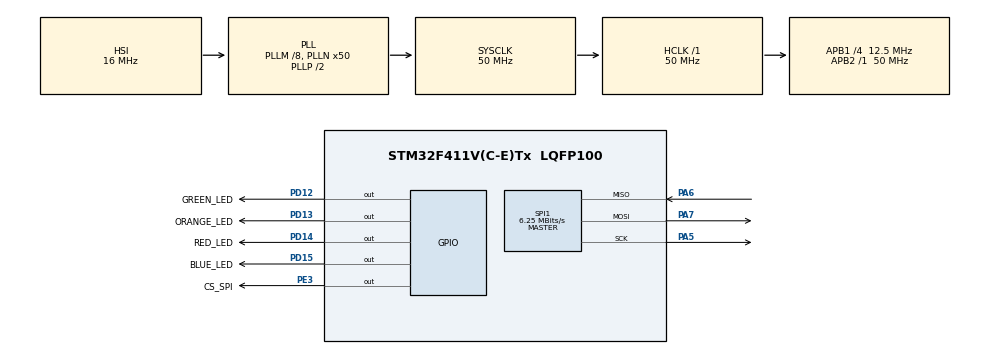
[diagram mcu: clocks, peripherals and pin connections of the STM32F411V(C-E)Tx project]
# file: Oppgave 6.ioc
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Mcu.Family=STM32F4
Mcu.Name=STM32F411V(C-E)Tx
Mcu.Package=LQFP100
NVIC.PriorityGroup=NVIC_PRIORITYGROUP_0
PA5.Mode=Full_Duplex_Master
PA5.Signal=SPI1_SCK
PA6.Mode=Full_Duplex_Master
PA6.Signal=SPI1_MISO
PA7.Mode=Full_Duplex_Master
PA7.Signal=SPI1_MOSI
PD12.GPIO_Label=GREEN_LED
PD12.Signal=GPIO_Output
PD13.GPIO_Label=ORANGE_LED
PD13.Signal=GPIO_Output
PD14.GPIO_Label=RED_LED
PD14.Signal=GPIO_Output
PD15.GPIO_Label=BLUE_LED
PD15.Signal=GPIO_Output
PE3.GPIO_Label=CS_SPI
PE3.Signal=GPIO_Output
ProjectManager.HeapSize=0x200
ProjectManager.StackSize=0x400
ProjectManager.TargetToolchain=STM32CubeIDE
RCC.48MHZClocksFreq_Value=12500000
RCC.AHBFreq_Value=50000000
RCC.APB1CLKDivider=RCC_HCLK_DIV4
RCC.APB1Freq_Value=12500000
RCC.APB1TimFreq_Value=25000000
RCC.APB2Freq_Value=50000000
RCC.APB2TimFreq_Value=50000000
RCC.CortexFreq_Value=50000000
RCC.HCLKFreq_Value=50000000
RCC.HSE_VALUE=8000000
RCC.HSI_VALUE=16000000
RCC.LSE_VALUE=32768
RCC.PLLI2SM=5
RCC.PLLI2SN=200
RCC.PLLM=8
RCC.PLLN=50
RCC.PLLQ=8
RCC.SYSCLKFreq_VALUE=50000000
RCC.SYSCLKSource=RCC_SYSCLKSOURCE_PLLCLK
RCC.VCOOutputFreq_Value=100000000
SPI1.BaudRatePrescaler=SPI_BAUDRATEPRESCALER_8
SPI1.CalculateBaudRate=6.25 MBits/s
SPI1.Direction=SPI_DIRECTION_2LINES
SPI1.Mode=SPI_MODE_MASTER
SPI1.VirtualType=VM_MASTER
board=STM32F411E-DISCO

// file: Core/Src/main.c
/* USER CODE BEGIN Header */
/**
  ******************************************************************************
  * @file           : main.c
  * @brief          : Main program body
  ******************************************************************************
  * @attention
  *
  * Copyright (c) 2024 STMicroelectronics.
  * All rights reserved.
  *
  * This software is licensed under terms that can be found in the LICENSE file
  * in the root directory of this software component.
  * If no LICENSE file comes with this software, it is provided AS-IS.
  *
  ******************************************************************************
  */
/* USER CODE END Header */
#include "main.h"

/* USER CODE BEGIN Includes */

#include "I3G4250D.h"

/* USER CODE END Includes */

SPI_HandleTypeDef hspi1;

/* USER CODE BEGIN PV */

////////////////////////////////////////////////////////////////////////////////
/* Base code taken from Oppgave 4 */
////////////////////////////////////////////////////////////////////////////////

// Del 1 - Test SPI communication

uint8_t WHO_AM_I_value = 0xD3; // Expected WHO_AM_I value
uint8_t rx_WHO_AM_I_data; // Received data from SPI communication

// Del 2 - Light up LEDs based on gyroscope values

/* Threshold variable */
uint16_t THRESHOLD = 3000;

/* X-axis variables */
uint8_t x_lsb; // Variable to read the low byte into
uint8_t x_msb; // Variable to read the high byte into
int16_t x_val; // Variable to combine high and low bytes into 16-bit value

/* Y-axis variables */
uint8_t y_lsb; // Variable to read the low byte into
uint8_t y_msb; // Variable to read the high byte into
int16_t y_val; // Variable to combine high and low bytes into 16-bit value

/* USER CODE END PV */

void SystemClock_Config(void);
static void MX_GPIO_Init(void);
static void MX_SPI1_Init(void);

int main(void)
{

  /* MCU Configuration--------------------------------------------------------*/

  /* Reset of all peripherals, Initializes the Flash interface and the Systick. */
  HAL_Init();

  /* Configure the system clock */
  SystemClock_Config();

  /* Initialize all configured peripherals */
  MX_GPIO_Init();
  MX_SPI1_Init();
  /* USER CODE BEGIN 2 */

  // Del 1 - Test SPI communication

  	// Read WHO_AM_I register
	rx_WHO_AM_I_data = I3G4250D_ReadReg(I3G4250D_WHO_AM_I);

	// Check if received data is equal to the expected value from the WHO_AM_I register
		  // If they are equal, turn on Green LED
		  // If they are not equal, turn on the Red LED
	if (rx_WHO_AM_I_data == WHO_AM_I_value){
		HAL_GPIO_WritePin(GREEN_LED_GPIO_Port, GREEN_LED_Pin, GPIO_PIN_SET);
	} else {
		HAL_GPIO_WritePin(RED_LED_GPIO_Port, RED_LED_Pin, GPIO_PIN_SET);
	}

  ////////////////////////////////////////////////////////////////////////////////////////////////////
  ////////////////////////////////////////////////////////////////////////////////////////////////////

  // DEL 2 - Light up LEDs based on the direction the board is tipped

    /* Configure built-in gyroscope */

    I3G4250D_InitTypeDef gyroConfig;

    gyroConfig.dataRate = I3G4250D_ODR_100HZ_FC_12_5;
    gyroConfig.powerDown = I3G4250D_PD_DISABLE;
    gyroConfig.axesEnable = I3G4250D_ENABLE_XYZ;

    I3G4250D_CTRL_REG1_Init(&gyroConfig);

  /* USER CODE END 2 */

  /* Infinite loop */
  /* USER CODE BEGIN WHILE */
  while (1)
  {

	  // Read data from x-axis
	  x_lsb = I3G4250D_ReadReg(I3G4250D_OUT_X_L);
	  x_msb = I3G4250D_ReadReg(I3G4250D_OUT_X_H);

	  // Combine x_msb and x_lsb
	  x_val = ((uint16_t) x_msb << 8) | ((uint16_t) x_lsb);

	  // Read data from y-axis
	  y_lsb = I3G4250D_ReadReg(I3G4250D_OUT_Y_L);
	  y_msb = I3G4250D_ReadReg(I3G4250D_OUT_Y_H);

	  // Combine y_msb and y_lsb
	  y_val = ((uint16_t) y_msb << 8) | ((uint16_t) y_lsb);

   /* Update LEDs based on X- and Y-axis data */

	  if (x_val > THRESHOLD){
		  HAL_GPIO_WritePin(GREEN_LED_GPIO_Port, GREEN_LED_Pin, GPIO_PIN_SET); // Turn on green LED if X is negative
		  HAL_GPIO_WritePin(RED_LED_GPIO_Port, RED_LED_Pin, GPIO_PIN_RESET); // Turn off red LED if X is negative
	  } else if (x_val < -THRESHOLD){
		  HAL_GPIO_WritePin(GREEN_LED_GPIO_Port, GREEN_LED_Pin, GPIO_PIN_RESET);
		  HAL_GPIO_WritePin(RED_LED_GPIO_Port, RED_LED_Pin, GPIO_PIN_SET);
	  } else {
		  HAL_GPIO_WritePin(GREEN_LED_GPIO_Port, GREEN_LED_Pin, GPIO_PIN_RESET);
		  HAL_GPIO_WritePin(RED_LED_GPIO_Port, RED_LED_Pin, GPIO_PIN_RESET);
	  }

	  if (y_val > THRESHOLD){
		  HAL_GPIO_WritePin(BLUE_LED_GPIO_Port, BLUE_LED_Pin, GPIO_PIN_SET);
		  HAL_GPIO_WritePin(ORANGE_LED_GPIO_Port, ORANGE_LED_Pin, GPIO_PIN_RESET);
	  } else if (y_val < -THRESHOLD){
		  HAL_GPIO_WritePin(BLUE_LED_GPIO_Port, BLUE_LED_Pin, GPIO_PIN_RESET);
		  HAL_GPIO_WritePin(ORANGE_LED_GPIO_Port, ORANGE_LED_Pin, GPIO_PIN_SET);
	  } else {
		  HAL_GPIO_WritePin(BLUE_LED_GPIO_Port, BLUE_LED_Pin, GPIO_PIN_RESET);
		  HAL_GPIO_WritePin(ORANGE_LED_GPIO_Port, ORANGE_LED_Pin, GPIO_PIN_RESET);
	  }

	  HAL_Delay(100); // Small delay for stability
    /* USER CODE END WHILE */

  }
}

void SystemClock_Config(void)
{
  RCC_OscInitTypeDef RCC_OscInitStruct = {0};
  RCC_ClkInitTypeDef RCC_ClkInitStruct = {0};

  /** Configure the main internal regulator output voltage
  */
  __HAL_RCC_PWR_CLK_ENABLE();
  __HAL_PWR_VOLTAGESCALING_CONFIG(PWR_REGULATOR_VOLTAGE_SCALE1);

  /** Initializes the RCC Oscillators according to the specified parameters
  * in the RCC_OscInitTypeDef structure.
  */
  RCC_OscInitStruct.OscillatorType = RCC_OSCILLATORTYPE_HSI;
  RCC_OscInitStruct.HSIState = RCC_HSI_ON;
  RCC_OscInitStruct.HSICalibrationValue = RCC_HSICALIBRATION_DEFAULT;
  RCC_OscInitStruct.PLL.PLLState = RCC_PLL_ON;
  RCC_OscInitStruct.PLL.PLLSource = RCC_PLLSOURCE_HSI;
  RCC_OscInitStruct.PLL.PLLM = 8;
  RCC_OscInitStruct.PLL.PLLN = 50;
  RCC_OscInitStruct.PLL.PLLP = RCC_PLLP_DIV2;
  RCC_OscInitStruct.PLL.PLLQ = 8;
  if (HAL_RCC_OscConfig(&RCC_OscInitStruct) != HAL_OK)
  {
    Error_Handler();
  }

  /** Initializes the CPU, AHB and APB buses clocks
  */
  RCC_ClkInitStruct.ClockType = RCC_CLOCKTYPE_HCLK|RCC_CLOCKTYPE_SYSCLK
                              |RCC_CLOCKTYPE_PCLK1|RCC_CLOCKTYPE_PCLK2;
  RCC_ClkInitStruct.SYSCLKSource = RCC_SYSCLKSOURCE_PLLCLK;
  RCC_ClkInitStruct.AHBCLKDivider = RCC_SYSCLK_DIV1;
  RCC_ClkInitStruct.APB1CLKDivider = RCC_HCLK_DIV4;
  RCC_ClkInitStruct.APB2CLKDivider = RCC_HCLK_DIV1;

  if (HAL_RCC_ClockConfig(&RCC_ClkInitStruct, FLASH_LATENCY_1) != HAL_OK)
  {
    Error_Handler();
  }
}

static void MX_SPI1_Init(void)
{

  /* SPI1 parameter configuration*/
  hspi1.Instance = SPI1;
  hspi1.Init.Mode = SPI_MODE_MASTER;
  hspi1.Init.Direction = SPI_DIRECTION_2LINES;
  hspi1.Init.DataSize = SPI_DATASIZE_8BIT;
  hspi1.Init.CLKPolarity = SPI_POLARITY_LOW;
  hspi1.Init.CLKPhase = SPI_PHASE_1EDGE;
  hspi1.Init.NSS = SPI_NSS_SOFT;
  hspi1.Init.BaudRatePrescaler = SPI_BAUDRATEPRESCALER_8;
  hspi1.Init.FirstBit = SPI_FIRSTBIT_MSB;
  hspi1.Init.TIMode = SPI_TIMODE_DISABLE;
  hspi1.Init.CRCCalculation = SPI_CRCCALCULATION_DISABLE;
  hspi1.Init.CRCPolynomial = 10;
  if (HAL_SPI_Init(&hspi1) != HAL_OK)
  {
    Error_Handler();
  }

}

static void MX_GPIO_Init(void)
{
  GPIO_InitTypeDef GPIO_InitStruct = {0};

  /* GPIO Ports Clock Enable */
  __HAL_RCC_GPIOE_CLK_ENABLE();
  __HAL_RCC_GPIOA_CLK_ENABLE();
  __HAL_RCC_GPIOD_CLK_ENABLE();

  /*Configure GPIO pin Output Level */
  HAL_GPIO_WritePin(CS_SPI_GPIO_Port, CS_SPI_Pin, GPIO_PIN_RESET);

  /*Configure GPIO pin Output Level */
  HAL_GPIO_WritePin(GPIOD, GREEN_LED_Pin|ORANGE_LED_Pin|RED_LED_Pin|BLUE_LED_Pin, GPIO_PIN_RESET);

  /*Configure GPIO pin : CS_SPI_Pin */
  GPIO_InitStruct.Pin = CS_SPI_Pin;
  GPIO_InitStruct.Mode = GPIO_MODE_OUTPUT_PP;
  GPIO_InitStruct.Pull = GPIO_NOPULL;
  GPIO_InitStruct.Speed = GPIO_SPEED_FREQ_LOW;
  HAL_GPIO_Init(CS_SPI_GPIO_Port, &GPIO_InitStruct);

  /*Configure GPIO pins : GREEN_LED_Pin ORANGE_LED_Pin RED_LED_Pin BLUE_LED_Pin */
  GPIO_InitStruct.Pin = GREEN_LED_Pin|ORANGE_LED_Pin|RED_LED_Pin|BLUE_LED_Pin;
  GPIO_InitStruct.Mode = GPIO_MODE_OUTPUT_PP;
  GPIO_InitStruct.Pull = GPIO_NOPULL;
  GPIO_InitStruct.Speed = GPIO_SPEED_FREQ_LOW;
  HAL_GPIO_Init(GPIOD, &GPIO_InitStruct);

}

void Error_Handler(void)
{
  __disable_irq();
  while (1)
  {
  }
}
